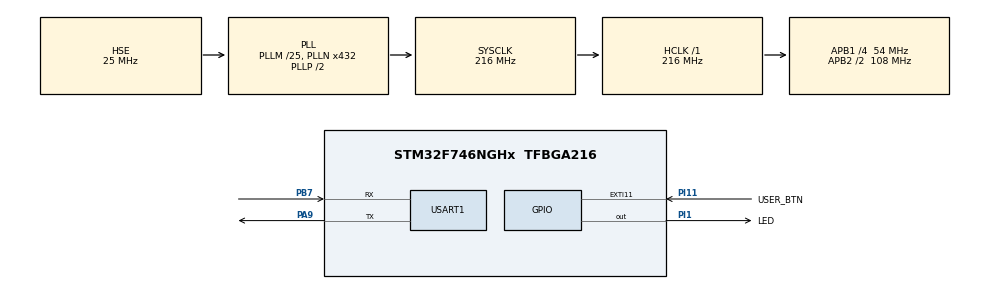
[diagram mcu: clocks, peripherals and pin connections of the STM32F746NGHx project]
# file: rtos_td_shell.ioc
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FREERTOS.Tasks01=defaultTask,0,128,StartDefaultTask,Default,NULL,Dynamic,NULL,NULL
FREERTOS.configCHECK_FOR_STACK_OVERFLOW=2
FREERTOS.configGENERATE_RUN_TIME_STATS=1
FREERTOS.configRECORD_STACK_HIGH_ADDRESS=1
FREERTOS.configTOTAL_HEAP_SIZE=153600
FREERTOS.configUSE_STATS_FORMATTING_FUNCTIONS=1
FREERTOS.configUSE_TRACE_FACILITY=1
Mcu.Family=STM32F7
Mcu.Name=STM32F746NGHx
Mcu.Package=TFBGA216
NVIC.PriorityGroup=NVIC_PRIORITYGROUP_4
NVIC.TIM6_DAC_IRQn=true\:15\:0\:false\:false\:true\:false\:false\:true\:true
NVIC.TimeBase=TIM6_DAC_IRQn
NVIC.TimeBaseIP=TIM6
NVIC.USART1_IRQn=true\:5\:0\:false\:false\:true\:true\:true\:true\:true
PA13.Mode=Serial_Wire
PA13.Signal=SYS_JTMS-SWDIO
PA14.Mode=Serial_Wire
PA14.Signal=SYS_JTCK-SWCLK
PA9.Mode=Asynchronous
PA9.Signal=USART1_TX
PB7.Mode=Asynchronous
PB7.Signal=USART1_RX
PH0/OSC_IN.Mode=HSE-External-Oscillator
PH0/OSC_IN.Signal=RCC_OSC_IN
PH1/OSC_OUT.Mode=HSE-External-Oscillator
PH1/OSC_OUT.Signal=RCC_OSC_OUT
PI1.GPIO_Label=LED
PI1.Signal=GPIO_Output
PI11.GPIO_Label=USER_BTN
PI11.Signal=GPXTI11
ProjectManager.HeapSize=0x200
ProjectManager.StackSize=0x400
ProjectManager.TargetToolchain=STM32CubeIDE
RCC.AHBFreq_Value=216000000
RCC.APB1CLKDivider=RCC_HCLK_DIV4
RCC.APB1Freq_Value=54000000
RCC.APB1TimFreq_Value=108000000
RCC.APB2CLKDivider=RCC_HCLK_DIV2
RCC.APB2Freq_Value=108000000
RCC.APB2TimFreq_Value=216000000
RCC.CortexFreq_Value=216000000
RCC.HCLKFreq_Value=216000000
RCC.HSE_VALUE=25000000
RCC.HSI_VALUE=16000000
RCC.LSE_VALUE=32768
RCC.PLLM=25
RCC.PLLN=432
RCC.PLLSourceVirtual=RCC_PLLSOURCE_HSE
RCC.SYSCLKFreq_VALUE=216000000
RCC.SYSCLKSource=RCC_SYSCLKSOURCE_PLLCLK
RCC.USBFreq_Value=216000000
RCC.VCOOutputFreq_Value=432000000
TIM2.Prescaler=10800
USART1.VirtualMode-Asynchronous=VM_ASYNC
VP_FREERTOS_VS_CMSIS_V1.Mode=CMSIS_V1
VP_SYS_VS_tim6.Mode=TIM6
VP_TIM2_VS_ClockSourceINT.Mode=Internal
board=STM32F746G-DISCO

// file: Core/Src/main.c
/* USER CODE BEGIN Header */
/**
 ******************************************************************************
 * @file           : main.c
 * @brief          : Main program body
 ******************************************************************************
 * @attention
 *
 * Copyright (c) 2022 STMicroelectronics.
 * All rights reserved.
 *
 * This software is licensed under terms that can be found in the LICENSE file
 * in the root directory of this software component.
 * If no LICENSE file comes with this software, it is provided AS-IS.
 *
 ******************************************************************************
 */
/* USER CODE END Header */
#include "main.h"
#include "cmsis_os.h"
#include "tim.h"
#include "usart.h"
#include "gpio.h"

/* USER CODE BEGIN Includes */
#include <stdio.h>
#include <stdlib.h>
#include "shell.h"
/* USER CODE END Includes */

/* USER CODE BEGIN PD */
#define TASK_SHELL_STACK_DEPTH 512
#define TASK_SHELL_PRIORITY 1
/* USER CODE END PD */

/* USER CODE BEGIN PV */
TaskHandle_t h_task_shell = NULL;
TaskHandle_t handle_task_blink_led;

/* USER CODE END PV */

void SystemClock_Config(void);
void MX_FREERTOS_Init(void);

/* USER CODE BEGIN 0 */
void configureTimerForRunTimeStats(void)
{
	// Appelée au début par l'OS
	// Lance un timer
	HAL_TIM_Base_Start(&htim2);
}

unsigned long getRunTimeCounterValue(void)
{
	// Appelé à chaque changement de contexte
	// Il faut retourner la valeur du compteur
	return __HAL_TIM_GET_COUNTER(&htim2);
}

void vApplicationStackOverflowHook(xTaskHandle xTask, signed char *pcTaskName)
{
	/* Run time stack overflow checking is performed if
   configCHECK_FOR_STACK_OVERFLOW is defined to 1 or 2. This hook function is
   called if a stack overflow is detected. */
	HAL_GPIO_TogglePin(LED_GPIO_Port, LED_Pin);//Allumer la LED
	Error_Handler();//Appel du ERROR_HANDLER

}

int __io_putchar(int ch)
{
	HAL_UART_Transmit(&huart1, (uint8_t*)&ch, 1, HAL_MAX_DELAY);

	return ch;
}

static uint32_t period = 100;

void task_blink_led(int * unused){

	vTaskSuspend(0);	// Se suspend elle meme

	for( ;; )
	{
		/* Simply toggle the LED every 100ms, blocking between each toggle. */
		HAL_GPIO_TogglePin(LED_GPIO_Port, LED_Pin);
		//		printf("LED Toggle\r\n");
		//vToggleLED();
		//vTaskDelay( period / portTICK_PERIOD_MS );
		HAL_Delay( period / portTICK_PERIOD_MS );
	}
}

void HAL_UART_RxCpltCallback(UART_HandleTypeDef *huart)
{
	if (huart->Instance == USART1)
	{
		shell_uart_receive_irq_cb();	// C'est la fonction qui donne le sémaphore!
	}
}

int fonction(int argc, char ** argv)
{
	printf("Je suis une fonction bidon\r\n");

	printf("argc = %d\r\n", argc);

	for (int i = 0 ; i < argc ; i++)
	{
		printf("arg %d = %s\r\n", i, argv[i]);
	}

	return 0;
}

int addition(int argc, char ** argv)
{
	if (argc == 3)
	{
		int a, b;
		a = atoi(argv[1]);
		b = atoi(argv[2]);
		printf("%d + %d = %d\r\n", a, b, a+b);

		return 0;
	}
	else
	{
		printf("Erreur, pas le bon nombre d'arguments\r\n");
		return -1;
	}
}

int led(int argc, char ** argv)
{
	/*fait clignoter P1, un param gère la periode de developpement, 0=eteint, le cligno se fait dans une tache*/

	printf("Je suis une fonction qui allume une led \r\n");

	period = atoi(argv[1]);
	if (period == 0) {
		printf("LED OFF\r\n");
		// éteind la led
		// suspend la tache
		vTaskSuspend(handle_task_blink_led);
		HAL_GPIO_WritePin(LED_GPIO_Port, LED_Pin, GPIO_PIN_RESET);
	}
	else
	{
		printf("LED BLINK\r\n");
		// clignote la led
		// resume la tache
		vTaskResume(handle_task_blink_led);
	}

	return 0;
}

void task_shell(void * unused)
{

	//	int tableau[128];
	//
	//	for (int i = 0 ; i < 128 ; i++)
	//	{
	//		tableau[i] = i;
	//		printf("%d %d\r\n", i, tableau[i]);
	//	}
	//
	//	printf("Zut\r\n");

	shell_init();
	shell_add('f', fonction, "Une fonction inutile");
	shell_add('a', addition, "Effectue une somme");
	shell_add('l',led, "Led Clignotte");
	shell_run();	// boucle infinie
}
/* USER CODE END 0 */

int main(void)
{

	/* MCU Configuration--------------------------------------------------------*/

	/* Reset of all peripherals, Initializes the Flash interface and the Systick. */
	HAL_Init();

	/* Configure the system clock */
	SystemClock_Config();

	/* Initialize all configured peripherals */
	MX_GPIO_Init();
	MX_USART1_UART_Init();
	MX_TIM2_Init();
	/* USER CODE BEGIN 2 */
	int i = 0;

	if (xTaskCreate(task_shell, "Shell", TASK_SHELL_STACK_DEPTH, NULL, TASK_SHELL_PRIORITY, &h_task_shell) != pdPASS)
	{
		printf("Error creating task shell %d\r\n", i);

		Error_Handler();
	}
	i++;

	BaseType_t ret;

	ret = xTaskCreate(
			task_blink_led,
			"LED",
			256,
			NULL,
			1,
			&handle_task_blink_led
	);

	if (ret != pdPASS)
	{
		printf("Error creating task LED\r\n");
		Error_Handler();
	}

	vTaskStartScheduler();
	/* USER CODE END 2 */

	/* Call init function for freertos objects (in freertos.c) */
	MX_FREERTOS_Init();

	/* Start scheduler */
	osKernelStart();

	/* We should never get here as control is now taken by the scheduler */
	/* Infinite loop */
	while (1)
	{

	}
}

void SystemClock_Config(void)
{
	RCC_OscInitTypeDef RCC_OscInitStruct = {0};
	RCC_ClkInitTypeDef RCC_ClkInitStruct = {0};

	/** Configure the main internal regulator output voltage
	 */
	__HAL_RCC_PWR_CLK_ENABLE();
	__HAL_PWR_VOLTAGESCALING_CONFIG(PWR_REGULATOR_VOLTAGE_SCALE1);

	/** Initializes the RCC Oscillators according to the specified parameters
	 * in the RCC_OscInitTypeDef structure.
	 */
	RCC_OscInitStruct.OscillatorType = RCC_OSCILLATORTYPE_HSE;
	RCC_OscInitStruct.HSEState = RCC_HSE_ON;
	RCC_OscInitStruct.PLL.PLLState = RCC_PLL_ON;
	RCC_OscInitStruct.PLL.PLLSource = RCC_PLLSOURCE_HSE;
	RCC_OscInitStruct.PLL.PLLM = 25;
	RCC_OscInitStruct.PLL.PLLN = 432;
	RCC_OscInitStruct.PLL.PLLP = RCC_PLLP_DIV2;
	RCC_OscInitStruct.PLL.PLLQ = 2;
	if (HAL_RCC_OscConfig(&RCC_OscInitStruct) != HAL_OK)
	{
		Error_Handler();
	}

	/** Activate the Over-Drive mode
	 */
	if (HAL_PWREx_EnableOverDrive() != HAL_OK)
	{
		Error_Handler();
	}

	/** Initializes the CPU, AHB and APB buses clocks
	 */
	RCC_ClkInitStruct.ClockType = RCC_CLOCKTYPE_HCLK|RCC_CLOCKTYPE_SYSCLK
			|RCC_CLOCKTYPE_PCLK1|RCC_CLOCKTYPE_PCLK2;
	RCC_ClkInitStruct.SYSCLKSource = RCC_SYSCLKSOURCE_PLLCLK;
	RCC_ClkInitStruct.AHBCLKDivider = RCC_SYSCLK_DIV1;
	RCC_ClkInitStruct.APB1CLKDivider = RCC_HCLK_DIV4;
	RCC_ClkInitStruct.APB2CLKDivider = RCC_HCLK_DIV2;

	if (HAL_RCC_ClockConfig(&RCC_ClkInitStruct, FLASH_LATENCY_7) != HAL_OK)
	{
		Error_Handler();
	}
}

void HAL_TIM_PeriodElapsedCallback(TIM_HandleTypeDef *htim)
{
	if (htim->Instance == TIM6) {
		HAL_IncTick();
	}
}

void Error_Handler(void)
{
	__disable_irq();
	while (1)
	{
	}
}
